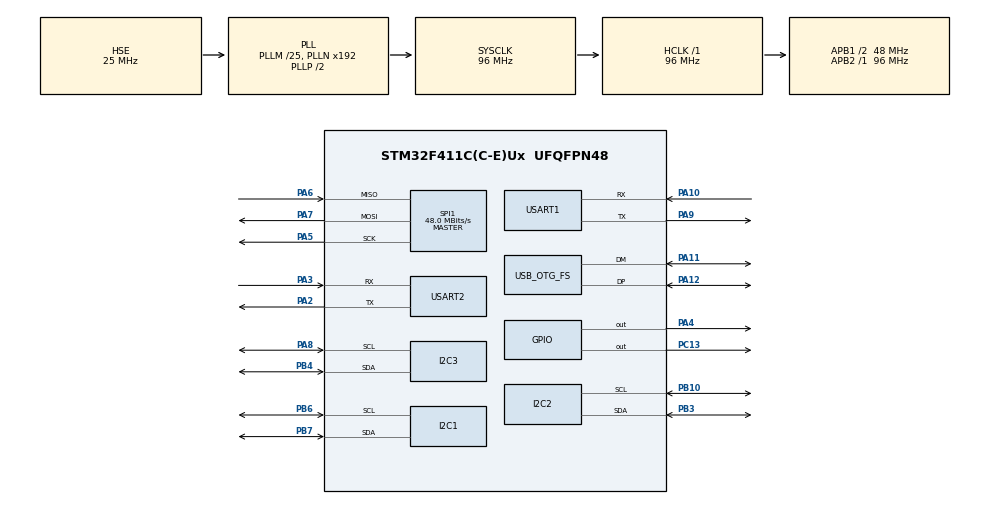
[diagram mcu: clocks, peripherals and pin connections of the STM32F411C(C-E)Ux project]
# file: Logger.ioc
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FATFS._MAX_SS=4096
FATFS._MIN_SS=4096
I2C1.I2C_Mode=I2C_Fast
I2C2.I2C_Mode=I2C_Fast
I2C3.I2C_Mode=I2C_Fast
Mcu.Family=STM32F4
Mcu.Name=STM32F411C(C-E)Ux
Mcu.Package=UFQFPN48
NVIC.OTG_FS_IRQn=true\:0\:0\:false\:false\:true\:false\:true\:true
NVIC.PriorityGroup=NVIC_PRIORITYGROUP_4
PA10.Mode=Asynchronous
PA10.Signal=USART1_RX
PA11.Mode=Device_Only
PA11.Signal=USB_OTG_FS_DM
PA12.Mode=Device_Only
PA12.Signal=USB_OTG_FS_DP
PA2.Mode=Asynchronous
PA2.Signal=USART2_TX
PA3.Mode=Asynchronous
PA3.Signal=USART2_RX
PA4.Signal=GPIO_Output
PA5.Mode=Full_Duplex_Master
PA5.Signal=SPI1_SCK
PA6.Mode=Full_Duplex_Master
PA6.Signal=SPI1_MISO
PA7.Mode=Full_Duplex_Master
PA7.Signal=SPI1_MOSI
PA8.Mode=I2C
PA8.Signal=I2C3_SCL
PA9.Mode=Asynchronous
PA9.Signal=USART1_TX
PB10.Mode=I2C
PB10.Signal=I2C2_SCL
PB3.Mode=I2C
PB3.Signal=I2C2_SDA
PB4.Mode=I2C
PB4.Signal=I2C3_SDA
PB6.Mode=I2C
PB6.Signal=I2C1_SCL
PB7.Mode=I2C
PB7.Signal=I2C1_SDA
PC13-ANTI_TAMP.Signal=GPIO_Output
PC14-OSC32_IN.Mode=LSE-External-Oscillator
PC14-OSC32_IN.Signal=RCC_OSC32_IN
PC15-OSC32_OUT.Mode=LSE-External-Oscillator
PC15-OSC32_OUT.Signal=RCC_OSC32_OUT
PH0\ -\ OSC_IN.Mode=HSE-External-Oscillator
PH0\ -\ OSC_IN.Signal=RCC_OSC_IN
PH1\ -\ OSC_OUT.Mode=HSE-External-Oscillator
PH1\ -\ OSC_OUT.Signal=RCC_OSC_OUT
ProjectManager.HeapSize=0x2000
ProjectManager.StackSize=0x4000
ProjectManager.TargetToolchain=STM32CubeIDE
RCC.48MHZClocksFreq_Value=48000000
RCC.AHBFreq_Value=96000000
RCC.APB1CLKDivider=RCC_HCLK_DIV2
RCC.APB1Freq_Value=48000000
RCC.APB1TimFreq_Value=96000000
RCC.APB2Freq_Value=96000000
RCC.APB2TimFreq_Value=96000000
RCC.CortexFreq_Value=96000000
RCC.HCLKFreq_Value=96000000
RCC.HSE_VALUE=25000000
RCC.HSI_VALUE=16000000
RCC.PLLM=25
RCC.RCC_RTC_Clock_Source=RCC_RTCCLKSOURCE_LSE
RCC.RCC_RTC_Clock_SourceVirtual=RCC_RTCCLKSOURCE_LSE
RCC.SYSCLKFreq_VALUE=96000000
RCC.SYSCLKSource=RCC_SYSCLKSOURCE_PLLCLK
RCC.VCOOutputFreq_Value=192000000
SPI1.CalculateBaudRate=48.0 MBits/s
SPI1.Direction=SPI_DIRECTION_2LINES
SPI1.Mode=SPI_MODE_MASTER
SPI1.VirtualType=VM_MASTER
USART1.VirtualMode=VM_ASYNC
USART2.VirtualMode=VM_ASYNC
USB_DEVICE.CLASS_NAME_FS=MSC
USB_DEVICE.MSC_MEDIA_PACKET=4096
USB_DEVICE.VirtualMode=Msc
USB_DEVICE.VirtualModeFS=Msc_FS
USB_OTG_FS.VirtualMode=Device_Only
VP_FATFS_VS_Generic.Mode=User_defined
VP_RTC_VS_RTC_Activate.Mode=RTC_Enabled
VP_USB_DEVICE_VS_USB_DEVICE_MSC_FS.Mode=MSC_FS
board=custom

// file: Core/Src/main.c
/* USER CODE BEGIN Header */
/**
  ******************************************************************************
  * @file           : main.c
  * @brief          : Main program body
  ******************************************************************************
  * @attention
  *
  * Copyright (c) 2022 STMicroelectronics.
  * All rights reserved.
  *
  * This software is licensed under terms that can be found in the LICENSE file
  * in the root directory of this software component.
  * If no LICENSE file comes with this software, it is provided AS-IS.
  *
  ******************************************************************************
  */
/* USER CODE END Header */
#include "main.h"
#include "fatfs.h"
#include "usb_device.h"

/* USER CODE BEGIN Includes */
#include <stdio.h>
#include <string.h>
#include <stdbool.h>
/* USER CODE END Includes */

I2C_HandleTypeDef hi2c1;
I2C_HandleTypeDef hi2c2;
I2C_HandleTypeDef hi2c3;

RTC_HandleTypeDef hrtc;

SPI_HandleTypeDef hspi1;

UART_HandleTypeDef huart1;
UART_HandleTypeDef huart2;

/* USER CODE BEGIN PV */
bool isUSBMSC;
/* USER CODE END PV */

void SystemClock_Config(void);
static void MX_GPIO_Init(void);
static void MX_RTC_Init(void);
static void MX_USART2_UART_Init(void);
static void MX_SPI1_Init(void);
static void MX_I2C1_Init(void);
static void MX_I2C2_Init(void);
static void MX_I2C3_Init(void);
static void MX_USART1_UART_Init(void);
/* USER CODE BEGIN PFP */
void main_cpp(UART_HandleTypeDef *, I2C_HandleTypeDef *, I2C_HandleTypeDef *, I2C_HandleTypeDef *, char *);
/* USER CODE END PFP */

int main(void)
{
  /* USER CODE BEGIN 1 */
	char time[30];
	char date[30];
	char fname[30];
	RTC_TimeTypeDef sTime;
	RTC_DateTypeDef sDate;
	isUSBMSC = false;
  /* USER CODE END 1 */

  /* MCU Configuration--------------------------------------------------------*/

  /* Reset of all peripherals, Initializes the Flash interface and the Systick. */
  HAL_Init();

  /* Configure the system clock */
  SystemClock_Config();

  /* Initialize all configured peripherals */
  MX_GPIO_Init();
  MX_RTC_Init();
  MX_USART2_UART_Init();
  MX_SPI1_Init();
  MX_FATFS_Init();
  MX_USB_DEVICE_Init();
  MX_I2C1_Init();
  MX_I2C2_Init();
  MX_I2C3_Init();
  MX_USART1_UART_Init();
  /* USER CODE BEGIN 2 */
	uint32_t bytesread;
	char buffer[256];
	HAL_Delay(1000);

	if(!isUSBMSC){
		/*Initialize RTC*/
		while(f_mount(&USERFatFS, USERPath, 1) != FR_OK) {
			HAL_Delay(1000);
		}
		if(f_open(&USERFile, "SETTIME.TXT", FA_OPEN_EXISTING | FA_READ) == FR_OK) {
			retUSER = f_read(&USERFile, buffer, sizeof(buffer), (void *)&bytesread);
			buffer[bytesread]=0;
			//sscanf(buffer, "%02hhd-%02hhd-%02hhd %02hhd:%02hhd",
			//		&sDate.Year, &sDate.Month, &sDate.Date,
			//		&sTime.Hours, &sTime.Minutes);

			buffer[2]=0;  	sDate.Year = atoi(&buffer[0]);
			buffer[5]=0;		sDate.Month = atoi(&buffer[3]);
			buffer[8]=0;		sDate.Date = atoi(&buffer[6]);
			buffer[11]=0;		sTime.Hours = atoi(&buffer[9]);
			buffer[14]=0;		sTime.Minutes = atoi(&buffer[12]);

			sDate.WeekDay = RTC_WEEKDAY_SUNDAY;
			if (HAL_RTC_SetDate(&hrtc, &sDate, RTC_FORMAT_BIN) != HAL_OK)
			{
				Error_Handler();
			}

			sTime.Seconds = 0x0;
			sTime.DayLightSaving = RTC_DAYLIGHTSAVING_NONE;
			sTime.StoreOperation = RTC_STOREOPERATION_RESET;
			if (HAL_RTC_SetTime(&hrtc, &sTime, RTC_FORMAT_BIN) != HAL_OK)
			{
				Error_Handler();
			}

			f_close(&USERFile);
		}
		/*ここまで*/
	    HAL_RTC_GetTime(&hrtc, &sTime, RTC_FORMAT_BIN);
	    HAL_RTC_GetDate(&hrtc, &sDate, RTC_FORMAT_BIN);
	    sprintf(fname,"%02d%02d%02d%02d.csv",sDate.Month,sDate.Date,sTime.Hours,sTime.Minutes);
		main_cpp(&huart1, &hi2c1, &hi2c2, &hi2c3, fname);
	}
  /* USER CODE END 2 */

  /* Infinite loop */
  while (1)
  {

    /* USER CODE BEGIN 3 */
	  HAL_RTC_GetTime(&hrtc, &sTime, RTC_FORMAT_BIN);
	  HAL_RTC_GetDate(&hrtc, &sDate, RTC_FORMAT_BIN);

	  sprintf(date,"Date: %02d.%02d.%02d\t",sDate.Date,sDate.Month,sDate.Year+2000);
	  sprintf(time,"Time: %02d.%02d.%02d\r\n",sTime.Hours,sTime.Minutes,sTime.Seconds);

	  HAL_UART_Transmit(&huart1, (uint8_t *)date, strlen(date), 300);
	  HAL_UART_Transmit(&huart1, (uint8_t *)time, strlen(time), 300);
	  HAL_GPIO_TogglePin(GPIOC, GPIO_PIN_13);
	  HAL_Delay(1000);
  }
  /* USER CODE END 3 */
}

void SystemClock_Config(void)
{
  RCC_OscInitTypeDef RCC_OscInitStruct = {0};
  RCC_ClkInitTypeDef RCC_ClkInitStruct = {0};

  /** Configure the main internal regulator output voltage
  */
  __HAL_RCC_PWR_CLK_ENABLE();
  __HAL_PWR_VOLTAGESCALING_CONFIG(PWR_REGULATOR_VOLTAGE_SCALE1);

  /** Initializes the RCC Oscillators according to the specified parameters
  * in the RCC_OscInitTypeDef structure.
  */
  RCC_OscInitStruct.OscillatorType = RCC_OSCILLATORTYPE_HSE|RCC_OSCILLATORTYPE_LSE;
  RCC_OscInitStruct.HSEState = RCC_HSE_ON;
  RCC_OscInitStruct.LSEState = RCC_LSE_ON;
  RCC_OscInitStruct.PLL.PLLState = RCC_PLL_ON;
  RCC_OscInitStruct.PLL.PLLSource = RCC_PLLSOURCE_HSE;
  RCC_OscInitStruct.PLL.PLLM = 25;
  RCC_OscInitStruct.PLL.PLLN = 192;
  RCC_OscInitStruct.PLL.PLLP = RCC_PLLP_DIV2;
  RCC_OscInitStruct.PLL.PLLQ = 4;
  if (HAL_RCC_OscConfig(&RCC_OscInitStruct) != HAL_OK)
  {
    Error_Handler();
  }

  /** Initializes the CPU, AHB and APB buses clocks
  */
  RCC_ClkInitStruct.ClockType = RCC_CLOCKTYPE_HCLK|RCC_CLOCKTYPE_SYSCLK
                              |RCC_CLOCKTYPE_PCLK1|RCC_CLOCKTYPE_PCLK2;
  RCC_ClkInitStruct.SYSCLKSource = RCC_SYSCLKSOURCE_PLLCLK;
  RCC_ClkInitStruct.AHBCLKDivider = RCC_SYSCLK_DIV1;
  RCC_ClkInitStruct.APB1CLKDivider = RCC_HCLK_DIV2;
  RCC_ClkInitStruct.APB2CLKDivider = RCC_HCLK_DIV1;

  if (HAL_RCC_ClockConfig(&RCC_ClkInitStruct, FLASH_LATENCY_3) != HAL_OK)
  {
    Error_Handler();
  }
}

static void MX_I2C1_Init(void)
{

  hi2c1.Instance = I2C1;
  hi2c1.Init.ClockSpeed = 400000;
  hi2c1.Init.DutyCycle = I2C_DUTYCYCLE_2;
  hi2c1.Init.OwnAddress1 = 0;
  hi2c1.Init.AddressingMode = I2C_ADDRESSINGMODE_7BIT;
  hi2c1.Init.DualAddressMode = I2C_DUALADDRESS_DISABLE;
  hi2c1.Init.OwnAddress2 = 0;
  hi2c1.Init.GeneralCallMode = I2C_GENERALCALL_DISABLE;
  hi2c1.Init.NoStretchMode = I2C_NOSTRETCH_DISABLE;
  if (HAL_I2C_Init(&hi2c1) != HAL_OK)
  {
    Error_Handler();
  }

}

static void MX_I2C2_Init(void)
{

  hi2c2.Instance = I2C2;
  hi2c2.Init.ClockSpeed = 400000;
  hi2c2.Init.DutyCycle = I2C_DUTYCYCLE_2;
  hi2c2.Init.OwnAddress1 = 0;
  hi2c2.Init.AddressingMode = I2C_ADDRESSINGMODE_7BIT;
  hi2c2.Init.DualAddressMode = I2C_DUALADDRESS_DISABLE;
  hi2c2.Init.OwnAddress2 = 0;
  hi2c2.Init.GeneralCallMode = I2C_GENERALCALL_DISABLE;
  hi2c2.Init.NoStretchMode = I2C_NOSTRETCH_DISABLE;
  if (HAL_I2C_Init(&hi2c2) != HAL_OK)
  {
    Error_Handler();
  }

}

static void MX_I2C3_Init(void)
{

  hi2c3.Instance = I2C3;
  hi2c3.Init.ClockSpeed = 400000;
  hi2c3.Init.DutyCycle = I2C_DUTYCYCLE_2;
  hi2c3.Init.OwnAddress1 = 0;
  hi2c3.Init.AddressingMode = I2C_ADDRESSINGMODE_7BIT;
  hi2c3.Init.DualAddressMode = I2C_DUALADDRESS_DISABLE;
  hi2c3.Init.OwnAddress2 = 0;
  hi2c3.Init.GeneralCallMode = I2C_GENERALCALL_DISABLE;
  hi2c3.Init.NoStretchMode = I2C_NOSTRETCH_DISABLE;
  if (HAL_I2C_Init(&hi2c3) != HAL_OK)
  {
    Error_Handler();
  }

}

static void MX_RTC_Init(void)
{

  /** Initialize RTC Only
  */
  hrtc.Instance = RTC;
  hrtc.Init.HourFormat = RTC_HOURFORMAT_24;
  hrtc.Init.AsynchPrediv = 127;
  hrtc.Init.SynchPrediv = 255;
  hrtc.Init.OutPut = RTC_OUTPUT_DISABLE;
  hrtc.Init.OutPutPolarity = RTC_OUTPUT_POLARITY_HIGH;
  hrtc.Init.OutPutType = RTC_OUTPUT_TYPE_OPENDRAIN;
  if (HAL_RTC_Init(&hrtc) != HAL_OK)
  {
    Error_Handler();
  }

}

static void MX_SPI1_Init(void)
{

  /* SPI1 parameter configuration*/
  hspi1.Instance = SPI1;
  hspi1.Init.Mode = SPI_MODE_MASTER;
  hspi1.Init.Direction = SPI_DIRECTION_2LINES;
  hspi1.Init.DataSize = SPI_DATASIZE_8BIT;
  hspi1.Init.CLKPolarity = SPI_POLARITY_LOW;
  hspi1.Init.CLKPhase = SPI_PHASE_1EDGE;
  hspi1.Init.NSS = SPI_NSS_SOFT;
  hspi1.Init.BaudRatePrescaler = SPI_BAUDRATEPRESCALER_2;
  hspi1.Init.FirstBit = SPI_FIRSTBIT_MSB;
  hspi1.Init.TIMode = SPI_TIMODE_DISABLE;
  hspi1.Init.CRCCalculation = SPI_CRCCALCULATION_DISABLE;
  hspi1.Init.CRCPolynomial = 10;
  if (HAL_SPI_Init(&hspi1) != HAL_OK)
  {
    Error_Handler();
  }

}

static void MX_USART1_UART_Init(void)
{

  huart1.Instance = USART1;
  huart1.Init.BaudRate = 115200;
  huart1.Init.WordLength = UART_WORDLENGTH_8B;
  huart1.Init.StopBits = UART_STOPBITS_1;
  huart1.Init.Parity = UART_PARITY_NONE;
  huart1.Init.Mode = UART_MODE_TX_RX;
  huart1.Init.HwFlowCtl = UART_HWCONTROL_NONE;
  huart1.Init.OverSampling = UART_OVERSAMPLING_16;
  if (HAL_UART_Init(&huart1) != HAL_OK)
  {
    Error_Handler();
  }

}

static void MX_USART2_UART_Init(void)
{

  huart2.Instance = USART2;
  huart2.Init.BaudRate = 115200;
  huart2.Init.WordLength = UART_WORDLENGTH_8B;
  huart2.Init.StopBits = UART_STOPBITS_1;
  huart2.Init.Parity = UART_PARITY_NONE;
  huart2.Init.Mode = UART_MODE_TX_RX;
  huart2.Init.HwFlowCtl = UART_HWCONTROL_NONE;
  huart2.Init.OverSampling = UART_OVERSAMPLING_16;
  if (HAL_UART_Init(&huart2) != HAL_OK)
  {
    Error_Handler();
  }

}

static void MX_GPIO_Init(void)
{
  GPIO_InitTypeDef GPIO_InitStruct = {0};

  /* GPIO Ports Clock Enable */
  __HAL_RCC_GPIOC_CLK_ENABLE();
  __HAL_RCC_GPIOH_CLK_ENABLE();
  __HAL_RCC_GPIOA_CLK_ENABLE();
  __HAL_RCC_GPIOB_CLK_ENABLE();

  /*Configure GPIO pin Output Level */
  HAL_GPIO_WritePin(GPIOC, GPIO_PIN_13, GPIO_PIN_RESET);

  /*Configure GPIO pin Output Level */
  HAL_GPIO_WritePin(GPIOA, GPIO_PIN_4, GPIO_PIN_RESET);

  /*Configure GPIO pin : PC13 */
  GPIO_InitStruct.Pin = GPIO_PIN_13;
  GPIO_InitStruct.Mode = GPIO_MODE_OUTPUT_PP;
  GPIO_InitStruct.Pull = GPIO_NOPULL;
  GPIO_InitStruct.Speed = GPIO_SPEED_FREQ_LOW;
  HAL_GPIO_Init(GPIOC, &GPIO_InitStruct);

  /*Configure GPIO pin : PA4 */
  GPIO_InitStruct.Pin = GPIO_PIN_4;
  GPIO_InitStruct.Mode = GPIO_MODE_OUTPUT_PP;
  GPIO_InitStruct.Pull = GPIO_NOPULL;
  GPIO_InitStruct.Speed = GPIO_SPEED_FREQ_LOW;
  HAL_GPIO_Init(GPIOA, &GPIO_InitStruct);

}

void Error_Handler(void)
{
  __disable_irq();
  while (1)
  {
  }
}
